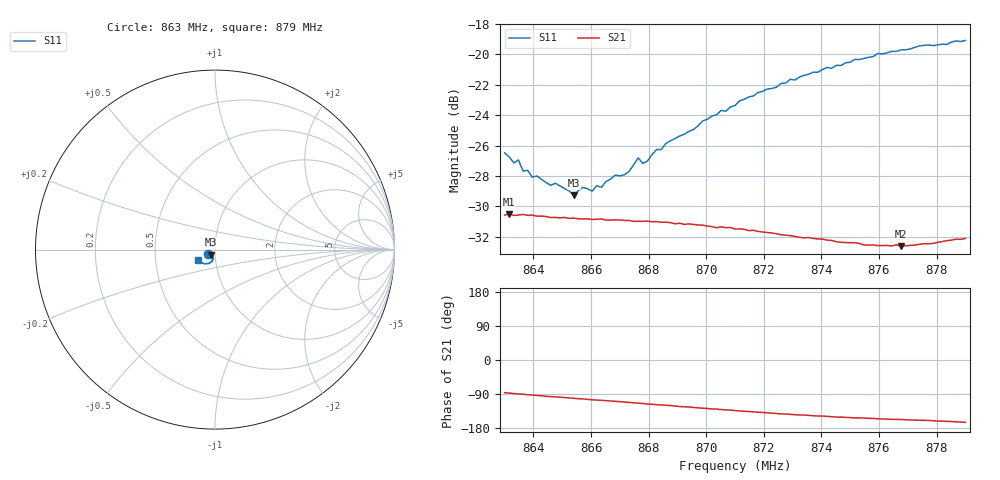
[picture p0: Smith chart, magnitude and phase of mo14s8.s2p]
# HZ S RI R 50
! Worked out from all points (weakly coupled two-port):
!   101 points, 863 MHz to 879 MHz, reference 50 ohm
!   highest |S21| = -30.50 dB at 863.16 MHz (marker M1); lowest = -32.6 dB at 876.76 MHz (marker M2)
!   lowest |S11| = -29.3 dB at 865.4 MHz (marker M3), VSWR 1.07, Z = 47.9 - j2.63 ohm
!   |S11| at or under -10 dB: start of sweep to end of sweep
!   S12 and S22 are empty: the file has one direction only
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8.63e8  -0.0412 -0.0235  0.00199 -0.0295  0 0  0 0
8.6316e8  -0.0391 -0.0242  0.00144 -0.0298  0 0  0 0
8.6332e8  -0.0368 -0.0241  0.000758 -0.0295  0 0  0 0
8.6348e8  -0.0379 -0.0242  0.000218 -0.0296  0 0  0 0
8.6364e8  -0.0341 -0.0233  -0.000192 -0.0297  0 0  0 0
8.6396e8  -0.0314 -0.0238  -0.00121 -0.0296  0 0  0 0
8.6476e8  -0.0267 -0.0266  -0.00372 -0.0288  0 0  0 0
8.654e8  -0.0208 -0.0274  -0.00554 -0.0284  0 0  0 0
8.6572e8  -0.0192 -0.0311  -0.00628 -0.028  0 0  0 0
8.6604e8  -0.0171 -0.0311  -0.00739 -0.0277  0 0  0 0
8.6636e8  -0.016 -0.0328  -0.00815 -0.0276  0 0  0 0
8.6684e8  -0.0154 -0.037  -0.00932 -0.027  0 0  0 0
8.6732e8  -0.0126 -0.0393  -0.0106 -0.0264  0 0  0 0
8.6764e8  -0.0133 -0.0437  -0.0114 -0.0258  0 0  0 0
8.678e8  -0.0117 -0.0422  -0.0118 -0.0257  0 0  0 0
8.6844e8  -0.0106 -0.0474  -0.0135 -0.0246  0 0  0 0
8.6988e8  -0.0138 -0.0589  -0.0166 -0.0218  0 0  0 0
8.71e8  -0.0189 -0.0652  -0.0183 -0.0193  0 0  0 0
8.7372e8  -0.038 -0.0787  -0.0208 -0.0135  0 0  0 0
8.7644e8  -0.0691 -0.0755  -0.0215 -0.00935  0 0  0 0
8.7676e8  -0.0719 -0.0745  -0.0215 -0.0092  0 0  0 0
8.79e8  -0.0944 -0.0587  -0.0239 -0.00667  0 0  0 0
